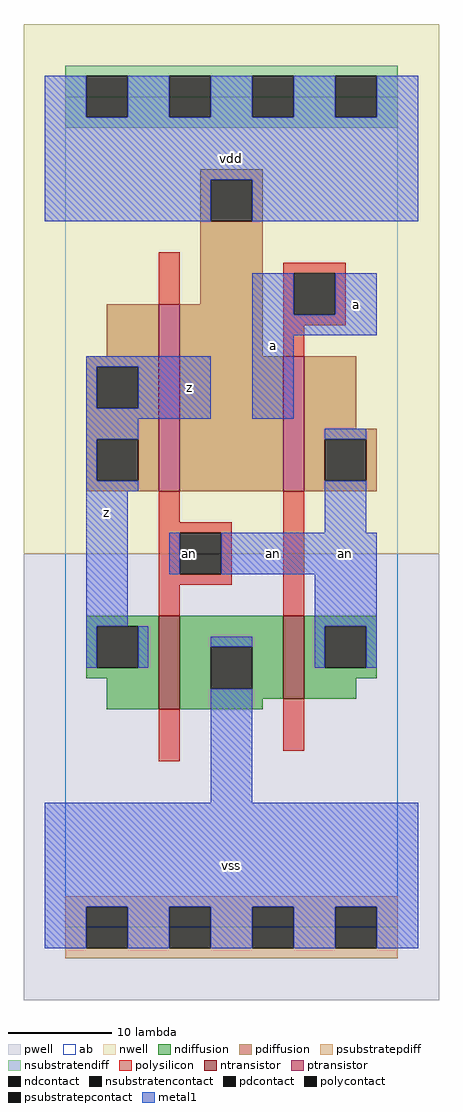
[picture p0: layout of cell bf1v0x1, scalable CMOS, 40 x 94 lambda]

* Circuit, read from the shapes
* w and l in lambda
.subckt bf1v0x1 a an vdd vss z
M1 vss an z vss nfet w=9 l=2
M2 an a vss vss nfet w=8 l=2
M3 vdd an z vdd pfet w=18 l=2
M4 an a vdd vdd pfet w=13 l=2
.ends

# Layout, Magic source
magic
tech scmos
<< ab >>
rect 0 0 32 80
<< pwell >>
rect -4 -7 36 36
<< nwell >>
rect -4 36 36 87
<< polysilicon >>
rect 9 60 11 65
rect 21 63 27 64
rect 21 59 22 63
rect 26 59 27 63
rect 21 58 27 59
rect 21 55 23 58
rect 9 39 11 42
rect 9 38 16 39
rect 9 34 11 38
rect 15 34 16 38
rect 9 33 16 34
rect 9 30 11 33
rect 21 30 23 42
rect 9 16 11 21
rect 21 17 23 22
<< ndiffusion >>
rect 2 29 9 30
rect 2 25 3 29
rect 7 25 9 29
rect 2 24 9 25
rect 4 21 9 24
rect 11 27 21 30
rect 11 23 14 27
rect 18 23 21 27
rect 11 22 21 23
rect 23 29 30 30
rect 23 25 25 29
rect 29 25 30 29
rect 23 24 30 25
rect 23 22 28 24
rect 11 21 19 22
<< pdiffusion >>
rect 13 72 19 73
rect 13 68 14 72
rect 18 68 19 72
rect 13 60 19 68
rect 4 55 9 60
rect 2 54 9 55
rect 2 50 3 54
rect 7 50 9 54
rect 2 47 9 50
rect 2 43 3 47
rect 7 43 9 47
rect 2 42 9 43
rect 11 55 19 60
rect 11 42 21 55
rect 23 48 28 55
rect 23 47 30 48
rect 23 43 25 47
rect 29 43 30 47
rect 23 42 30 43
<< metal1 >>
rect -2 78 2 82
rect 6 78 10 82
rect 14 78 18 82
rect 22 78 26 82
rect 30 78 34 82
rect -2 72 34 78
rect -2 68 14 72
rect 18 68 34 72
rect 18 59 22 63
rect 26 59 30 63
rect 18 57 30 59
rect 2 54 14 55
rect 2 50 3 54
rect 7 50 14 54
rect 2 49 14 50
rect 18 49 22 57
rect 2 47 7 49
rect 2 43 3 47
rect 2 42 7 43
rect 25 47 29 48
rect 2 29 6 42
rect 25 38 29 43
rect 10 34 11 38
rect 15 34 30 38
rect 24 29 30 34
rect 2 25 3 29
rect 7 25 8 29
rect 14 27 18 28
rect 24 25 25 29
rect 29 25 30 29
rect 14 12 18 23
rect -2 2 34 12
rect -2 -2 2 2
rect 6 -2 10 2
rect 14 -2 18 2
rect 22 -2 26 2
rect 30 -2 34 2
<< ntransistor >>
rect 9 21 11 30
rect 21 22 23 30
<< ptransistor >>
rect 9 42 11 60
rect 21 42 23 55
<< polycontact >>
rect 22 59 26 63
rect 11 34 15 38
<< ndcontact >>
rect 3 25 7 29
rect 14 23 18 27
rect 25 25 29 29
<< pdcontact >>
rect 14 68 18 72
rect 3 50 7 54
rect 3 43 7 47
rect 25 43 29 47
<< psubstratepcontact >>
rect 2 -2 6 2
rect 10 -2 14 2
rect 18 -2 22 2
rect 26 -2 30 2
<< nsubstratencontact >>
rect 2 78 6 82
rect 10 78 14 82
rect 18 78 22 82
rect 26 78 30 82
<< psubstratepdiff >>
rect 0 2 32 3
rect 0 -2 2 2
rect 6 -2 10 2
rect 14 -2 18 2
rect 22 -2 26 2
rect 30 -2 32 2
rect 0 -3 32 -2
<< nsubstratendiff >>
rect 0 82 32 83
rect 0 78 2 82
rect 6 78 10 82
rect 14 78 18 82
rect 22 78 26 82
rect 30 78 32 82
rect 0 77 32 78
<< labels >>
rlabel polycontact 12 36 12 36 6 an
rlabel metal1 4 40 4 40 6 z
rlabel metal1 12 52 12 52 6 z
rlabel metal1 16 6 16 6 6 vss
rlabel metal1 20 56 20 56 6 a
rlabel metal1 16 74 16 74 6 vdd
rlabel metal1 20 36 20 36 6 an
rlabel metal1 27 36 27 36 6 an
rlabel metal1 28 60 28 60 6 a
<< end >>
